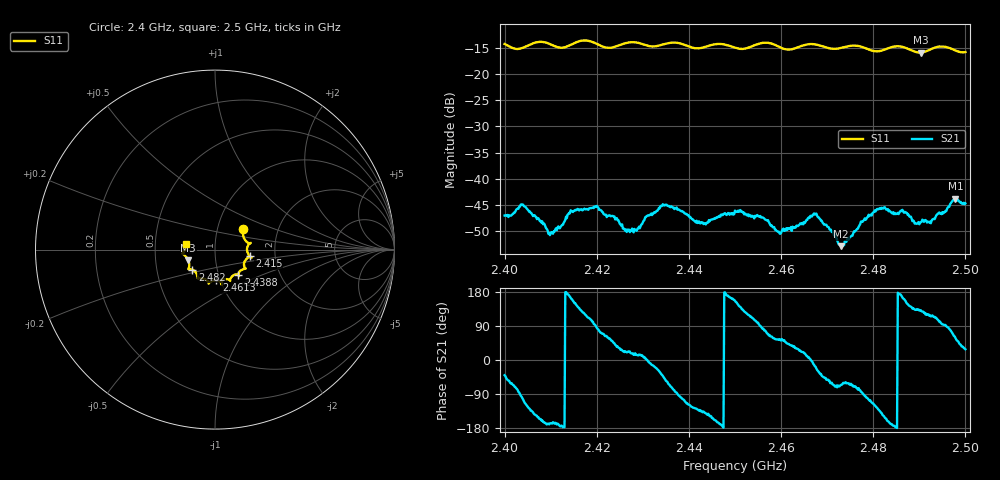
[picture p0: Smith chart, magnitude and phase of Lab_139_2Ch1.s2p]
# Hz S RI R 50
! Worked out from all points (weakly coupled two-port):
!   601 points, 2.4 GHz to 2.5 GHz, reference 50 ohm
!   highest |S21| = -43.77 dB at 2.4978 GHz (marker M1); lowest = -52.9 dB at 2.473 GHz (marker M2)
!   lowest |S11| = -15.9 dB at 2.4903 GHz (marker M3), VSWR 1.38, Z = 36.8 - j4.46 ohm
!   |S11| at or under -10 dB: start of sweep to end of sweep
!   S12 and S22 are empty: the file has one direction only
!   S11 on the Smith chart (normalised r, x): 2.4 GHz: 1.33, +0.31; 2.415 GHz: 1.47, -0.11; 2.4388 GHz: 1.24, -0.36; 2.4613 GHz: 0.96, -0.34; 2.482 GHz: 0.76, -0.17; 2.5 GHz: 0.72, +0.05
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2.4e9  0.1579 0.1123  0.0034 -0.00287  0 0  0 0
2.404e9  0.1717 0.0481  -0.00136 -0.0055  0 0  0 0
2.41e9  0.1896 0.0311  -0.00291 -0.000681  0 0  0 0
2.415e9  0.1924 -0.0363  -0.00442 0.0022  0 0  0 0
2.416667e9  0.2034 -0.0442  -0.00327 0.00393  0 0  0 0
2.42e9  0.1896 -0.0426  0.000471 0.00549  0 0  0 0
2.427e9  0.1707 -0.1048  0.00304 0.00119  0 0  0 0
2.433333e9  0.1322 -0.1314  0.00456 -0.00227  0 0  0 0
2.438833e9  0.1296 -0.1406  -0.00122 -0.00465  0 0  0 0
2.443333e9  0.0889 -0.157  -0.00278 -0.00252  0 0  0 0
2.45e9  0.0689 -0.1649  -0.00454 0.00201  0 0  0 0
2.456833e9  0.0383 -0.1953  0.00121 0.00384  0 0  0 0
2.4595e9  0.0296 -0.1801  0.00187 0.0025  0 0  0 0
2.461333e9  0.00756 -0.1712  0.00234 0.00224  0 0  0 0
2.466667e9  -0.0351 -0.1901  0.00435 -0.000215  0 0  0 0
2.473e9  -0.078 -0.1596  0.000936 -0.00207  0 0  0 0
2.482e9  -0.1259 -0.1115  -0.00425 -0.00301  0 0  0 0
2.483333e9  -0.1396 -0.1087  -0.00467 -0.00146  0 0  0 0
2.490333e9  -0.1491 -0.059  -0.00254 0.0029  0 0  0 0
2.492833e9  -0.1729 -0.0281  -0.0019 0.00363  0 0  0 0
2.497833e9  -0.1677 -0.00284  0.0034 0.00551  0 0  0 0
2.5e9  -0.1588 0.0325  0.00512 0.00276  0 0  0 0
